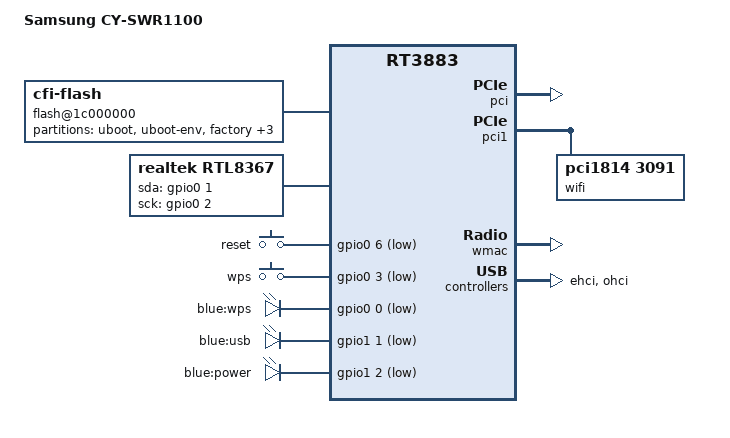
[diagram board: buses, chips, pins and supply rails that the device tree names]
#include "rt3883.dtsi"

#include <dt-bindings/gpio/gpio.h>
#include <dt-bindings/input/input.h>

/ {
	compatible = "samsung,cy-swr1100", "ralink,rt3662-soc", "ralink,rt3883-soc";
	model = "Samsung CY-SWR1100";

	aliases {
		led-boot = &led_power;
		led-failsafe = &led_power;
		led-running = &led_power;
		led-upgrade = &led_power;
	};

	flash@1c000000 {
		compatible = "cfi-flash";
		reg = <0x1c000000 0x800000>;
		bank-width = <2>;

		partitions {
			compatible = "fixed-partitions";
			#address-cells = <1>;
			#size-cells = <1>;

			partition@0 {
				label = "uboot";
				reg = <0x0 0x30000>;
				read-only;
			};

			partition@30000 {
				label = "uboot-env";
				reg = <0x30000 0x4000>;
				read-only;
			};

			factory: partition@34000 {
				label = "factory";
				reg = <0x34000 0x4000>;
				read-only;
			};

			partition@38000 {
				label = "nvram";
				reg = <0x38000 0x8000>;
				read-only;
			};

			partition@40000 {
				label = "devconf";
				reg = <0x40000 0x10000>;
				read-only;
			};

			partition@50000 {
				compatible = "seama";
				label = "firmware";
				reg = <0x50000 0x7b0000>;
			};
		};
	};

	rtl8367 {
		compatible = "realtek,rtl8367";
		gpio-sda = <&gpio0 1 GPIO_ACTIVE_HIGH>;
		gpio-sck = <&gpio0 2 GPIO_ACTIVE_HIGH>;
		realtek,extif0 = <1 0 1 1 1 1 1 1 2>;
	};

	keys {
		compatible = "gpio-keys";

		reset {
			label = "reset";
			gpios = <&gpio0 6 GPIO_ACTIVE_LOW>;
			linux,code = <KEY_RESTART>;
		};

		wps {
			label = "wps";
			gpios = <&gpio0 3 GPIO_ACTIVE_LOW>;
			linux,code = <KEY_WPS_BUTTON>;
		};
	};

	leds {
		compatible = "gpio-leds";

		wps {
			label = "blue:wps";
			gpios = <&gpio0 0 GPIO_ACTIVE_LOW>;
		};

		usb {
			label = "blue:usb";
			gpios = <&gpio1 1 GPIO_ACTIVE_LOW>;
			trigger-sources = <&ohci_port1>, <&ehci_port1>;
			linux,default-trigger = "usbport";
		};

		led_power: power {
			label = "blue:power";
			gpios = <&gpio1 2 GPIO_ACTIVE_LOW>;
		};
	};
};

&gpio1 {
	status = "okay";
};

&state_default {
	gpio {
		groups = "i2c", "spi";
		function = "gpio";
	};
};

&ethernet {
	port@0 {
		mediatek,fixed-link = <1000 1 1 1>;
		phy-mode = "rgmii";
	};
};

&pci {
	status = "okay";
};

&pci1 {
	status = "okay";

	wifi@0,0 {
		compatible = "pci1814,3091";
		reg = <0x10000 0 0 0 0>;
		ralink,mtd-eeprom = <&factory 0x2000>;
	};
};

&wmac {
	status = "okay";
	ralink,2ghz = <0>;
	ralink,mtd-eeprom = <&factory 0x0>;
};

&ehci {
	status = "okay";
};

&ohci {
	status = "okay";
};
